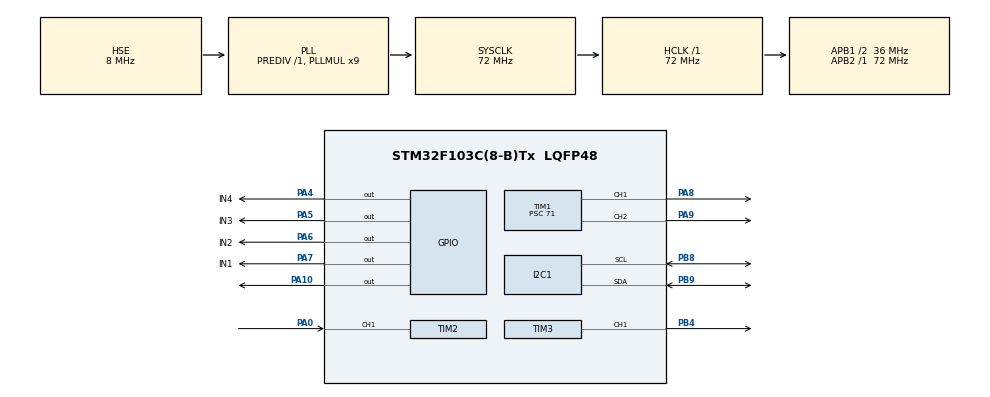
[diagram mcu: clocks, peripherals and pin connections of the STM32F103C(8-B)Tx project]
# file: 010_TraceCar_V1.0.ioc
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I2C1.I2C_Mode=I2C_Fast
Mcu.Family=STM32F1
Mcu.Name=STM32F103C(8-B)Tx
Mcu.Package=LQFP48
NVIC.PriorityGroup=NVIC_PRIORITYGROUP_4
PA0-WKUP.Signal=S_TIM2_CH1_ETR
PA10.GPIO_Speed=GPIO_SPEED_FREQ_HIGH
PA10.Signal=GPIO_Output
PA13.Mode=Serial_Wire
PA13.Signal=SYS_JTMS-SWDIO
PA14.Mode=Serial_Wire
PA14.Signal=SYS_JTCK-SWCLK
PA4.GPIO_Label=IN4
PA4.Signal=GPIO_Output
PA5.GPIO_Label=IN3
PA5.Signal=GPIO_Output
PA6.GPIO_Label=IN2
PA6.Signal=GPIO_Output
PA7.GPIO_Label=IN1
PA7.Signal=GPIO_Output
PA8.Signal=S_TIM1_CH1
PA9.Signal=S_TIM1_CH2
PB4.Signal=S_TIM3_CH1
PB8.Mode=I2C
PB8.Signal=I2C1_SCL
PB9.Mode=I2C
PB9.Signal=I2C1_SDA
PD0-OSC_IN.Mode=HSE-External-Oscillator
PD0-OSC_IN.Signal=RCC_OSC_IN
PD1-OSC_OUT.Mode=HSE-External-Oscillator
PD1-OSC_OUT.Signal=RCC_OSC_OUT
ProjectManager.HeapSize=0x200
ProjectManager.StackSize=0x400
ProjectManager.TargetToolchain=MDK-ARM V5.32
RCC.AHBFreq_Value=72000000
RCC.APB1CLKDivider=RCC_HCLK_DIV2
RCC.APB1Freq_Value=36000000
RCC.APB1TimFreq_Value=72000000
RCC.APB2Freq_Value=72000000
RCC.APB2TimFreq_Value=72000000
RCC.HCLKFreq_Value=72000000
RCC.PLLMUL=RCC_PLL_MUL9
RCC.PLLSourceVirtual=RCC_PLLSOURCE_HSE
RCC.SYSCLKFreq_VALUE=72000000
RCC.SYSCLKSource=RCC_SYSCLKSOURCE_PLLCLK
RCC.USBFreq_Value=72000000
SH.S_TIM1_CH1.0=TIM1_CH1,PWM Generation1 CH1
SH.S_TIM1_CH2.0=TIM1_CH2,PWM Generation2 CH2
SH.S_TIM2_CH1_ETR.0=TIM2_CH1,Input_Capture1_from_TI1
SH.S_TIM3_CH1.0=TIM3_CH1,PWM Generation1 CH1
TIM1.AutoReloadPreload=TIM_AUTORELOAD_PRELOAD_ENABLE
TIM1.Channel-PWM\ Generation1\ CH1=TIM_CHANNEL_1
TIM1.Channel-PWM\ Generation2\ CH2=TIM_CHANNEL_2
TIM1.Period=999
TIM1.Prescaler=71
TIM2.Channel-Input_Capture1_from_TI1=TIM_CHANNEL_1
TIM2.Channel-Input_Capture2_from_TI1_63=TIM_CHANNEL_2
TIM2.ICPolarity_CH2=TIM_INPUTCHANNELPOLARITY_FALLING
TIM2.Period=19999
TIM2.Prescaler=71
TIM3.AutoReloadPreload=TIM_AUTORELOAD_PRELOAD_ENABLE
TIM3.Channel-PWM\ Generation1\ CH1=TIM_CHANNEL_1
TIM3.Period=19999
TIM3.Prescaler=71
VP_TIM1_VS_ClockSourceINT.Mode=Internal
VP_TIM2_VS_ClockSourceINT.Mode=Internal
VP_TIM2_VS_indirect_ch1.Mode=Input_Capture2_from_TI1_63
VP_TIM3_VS_ClockSourceINT.Mode=Internal
board=custom

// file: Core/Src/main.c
/* USER CODE BEGIN Header */
/**
  ******************************************************************************
  * @file           : main.c
  * @brief          : Main program body
  ******************************************************************************
  * @attention
  *
  * Copyright (c) 2026 STMicroelectronics.
  * All rights reserved.
  *
  * This software is licensed under terms that can be found in the LICENSE file
  * in the root directory of this software component.
  * If no LICENSE file comes with this software, it is provided AS-IS.
  *
  ******************************************************************************
  */
/* USER CODE END Header */
#include "main.h"
#include "i2c.h"
#include "tim.h"
#include "gpio.h"

/* USER CODE BEGIN Includes */
#include "OLED.h"
#include "Servo.h"
#include "Sensor.h"
#include  "Motor.h"
/* USER CODE END Includes */

/* USER CODE BEGIN PV */
int left_speed;
int right_spped;
uint8_t sharp_turn_mode=0;
int active_num=0;
/* USER CODE END PV */

void SystemClock_Config(void);
/* USER CODE BEGIN PFP */
int Calculate_Error(uint8_t sensor_val);
void Motor_Init(void);
void Motor_SetSpeed(int left_seepd,int right_speed);
void Servo_Init(void);
void Obstacle_Avoide(void);
//float HCSR04_GetDistance(void);
/* USER CODE END PFP */

/* USER CODE BEGIN 0 */

int Calculate_Error(uint8_t sensor_val)
{
    sensor_val &= 0x7E;
    if(sensor_val==0) return 9999;

    long pos=0;
    int active=0;

    if(sensor_val & 0x40) {pos += 1000; active++;}
    if(sensor_val & 0x20) {pos += 2000; active++;}
    if(sensor_val & 0x10) {pos += 3000; active++;}
    if(sensor_val & 0x08) {pos += 4000; active++;}
    if(sensor_val & 0x04) {pos += 5000; active++;}
    if(sensor_val & 0x02) {pos += 6000; active++;}
    int position = pos / active;
	active_num=active;
    return position - 3500;
}
//=============================================================
// 1. PID parameters
float Kp = 0.3f;
float Ki = 0.0f;
float Kd = 0.8f;

// 2. procedure variable
int last_error = 0;

// 3. Base Speed
int BaseSpeed = 350;

void PID_Track_Control(int current_error)
{

    static int error_history[5] = {0,0,0,0,0};//此处的static关键字改变了数组error_history的生命周期，并且使其只被初始化一次
    static uint16_t lost_line_timer = 0;

    if(current_error != 9999)
    {
        lost_line_timer = 0;
    }

//1.1 trigger a right-angle turn
if(current_error >= 2000 || (active_num>= 3 && current_error >= 1000))
    {
        sharp_turn_mode = 1;
        return; //right
    }
    if(current_error <= -2000 || (active_num>= 3 && current_error <= -1000))
    {
        sharp_turn_mode = 2;
        return; //left
    }

//1.2
	if(sharp_turn_mode == 1)
    {
        Motor_SetSpeed(350, -350);//dead zone lock

        if(current_error >= -500 && current_error <= 500 && current_error != 9999)
        {
            sharp_turn_mode = 0;//dead zone unlock
            for(int i=0; i<5; i++) error_history[i] = 0;
        }
        return;
    }
    else if(sharp_turn_mode == 2)
    {
        Motor_SetSpeed(-350, 350);
        if (current_error >= -500 && current_error <= 500 && current_error != 9999)
        {
            sharp_turn_mode = 0;
            for(int i=0; i<5; i++) error_history[i] = 0;
        }
        return;
    }
//2.software watchdog
    if(current_error == 9999)
    {
        lost_line_timer++;

        if(lost_line_timer < 15)
        {

            if(last_error <= -1500) Motor_SetSpeed(100,300);
            else if(last_error >= 1500) Motor_SetSpeed(300,100);
            else Motor_SetSpeed(0, 0);
        }
        else
        {
            if(last_error <= -1500) Motor_SetSpeed(-350, 350);
            else if(last_error >= 1500) Motor_SetSpeed(350, -350);
            else Motor_SetSpeed(0, 0);
        }

        for(int i=0; i<5; i++) error_history[i] = 0;
        return;
    }

// 3.reduce speed when making a sharp turn
    int current_base_speed = BaseSpeed;
    if(current_error >= 2500 || current_error <= -2500)
	{
        current_base_speed = 50;
    }
    else if(current_error <= -1500 || current_error >= 1500)
	{
        current_base_speed = 220;
    }
//4.
    for(int i = 4; i > 0; i--)
	{
        error_history[i] = error_history[i-1];
    }
    error_history[0] = current_error;

    int window_sum = 0;
    for(int i = 0; i < 5; i++)
	{
        window_sum += error_history[i];//sliding‑window integration
    }

    float P = Kp * current_error;
    float I = Ki * window_sum;
    float slope = current_error - last_error;
    float D = Kd * slope;

    float PID_output = P + I + D;

    int left_motor_speed  = current_base_speed + (int)PID_output;
    int right_motor_speed = current_base_speed - (int)PID_output;

    if (left_motor_speed > 1000)  left_motor_speed = 1000;
    if (left_motor_speed < -1000) left_motor_speed = -1000;
    if (right_motor_speed > 1000) right_motor_speed = 1000;
    if (right_motor_speed < -1000) right_motor_speed = -1000;

    Motor_SetSpeed(left_motor_speed, right_motor_speed);

    last_error = current_error;
}

//HC-SRO4+avoidance

float HCSR04_GetDistance(void)
{
__HAL_TIM_SET_COUNTER(&htim2,0);

__HAL_TIM_CLEAR_FLAG(&htim2,TIM_FLAG_CC1);
__HAL_TIM_CLEAR_FLAG(&htim2,TIM_FLAG_CC2);

HAL_TIM_IC_Start(&htim2,TIM_CHANNEL_1);
HAL_TIM_IC_Start(&htim2,TIM_CHANNEL_2);

HAL_GPIO_WritePin(GPIOA,GPIO_PIN_10,GPIO_PIN_SET);
for(volatile uint32_t i=0; i<1500; i++);
HAL_GPIO_WritePin(GPIOA,GPIO_PIN_10,GPIO_PIN_RESET);

uint8_t if_success=0;
uint32_t expiretime=HAL_GetTick()+50;

while(expiretime>HAL_GetTick())
{
uint8_t cc1flag=__HAL_TIM_GET_FLAG(&htim2,TIM_FLAG_CC1);
uint8_t cc2flag=__HAL_TIM_GET_FLAG(&htim2,TIM_FLAG_CC2);

if(cc1flag&&cc2flag)
{
if_success=1;
break;
}
}
HAL_TIM_IC_Stop(&htim2,TIM_CHANNEL_1);
HAL_TIM_IC_Stop(&htim2,TIM_CHANNEL_2);

if(if_success)
{
uint16_t ccr1=__HAL_TIM_GET_COMPARE(&htim2,TIM_CHANNEL_1);
uint16_t ccr2=__HAL_TIM_GET_COMPARE(&htim2,TIM_CHANNEL_2);
float plusWidth=(uint16_t)(ccr2-ccr1)*1e-6f;
float distance=340.0f*plusWidth/2.0f;
return distance;
}

return 999.0f;

}
void Obstacle_Avoide(void)
{

    Motor_SetSpeed(0,0);
    HAL_Delay(200);

    Motor_SetSpeed(-800, -800);
    HAL_Delay(400);

    Motor_SetSpeed(0,0);

}
/* USER CODE END 0 */

int main(void)
{

  /* MCU Configuration--------------------------------------------------------*/

  /* Reset of all peripherals, Initializes the Flash interface and the Systick. */
  HAL_Init();

  /* Configure the system clock */
  SystemClock_Config();

  /* Initialize all configured peripherals */
  MX_GPIO_Init();
  MX_TIM3_Init();
  MX_I2C1_Init();
  MX_TIM1_Init();
  MX_TIM2_Init();
  /* USER CODE BEGIN 2 */
Motor_Init();
  /* USER CODE END 2 */

  /* Infinite loop */
  /* USER CODE BEGIN WHILE */

  while (1)
  {

      float distance = HCSR04_GetDistance();

      // 2.
      if(distance > 0.01f && distance < 0.2f)
      {
          Obstacle_Avoide();
      }

     else
      {
          uint8_t Sensor_value_raw = Sensor_Read();
          int error = Calculate_Error(Sensor_value_raw);
          PID_Track_Control(error);
      }
      HAL_Delay(60);

    /* USER CODE END WHILE */

  }
}

void SystemClock_Config(void)
{
  RCC_OscInitTypeDef RCC_OscInitStruct = {0};
  RCC_ClkInitTypeDef RCC_ClkInitStruct = {0};

  /** Initializes the RCC Oscillators according to the specified parameters
  * in the RCC_OscInitTypeDef structure.
  */
  RCC_OscInitStruct.OscillatorType = RCC_OSCILLATORTYPE_HSE;
  RCC_OscInitStruct.HSEState = RCC_HSE_ON;
  RCC_OscInitStruct.HSEPredivValue = RCC_HSE_PREDIV_DIV1;
  RCC_OscInitStruct.HSIState = RCC_HSI_ON;
  RCC_OscInitStruct.PLL.PLLState = RCC_PLL_ON;
  RCC_OscInitStruct.PLL.PLLSource = RCC_PLLSOURCE_HSE;
  RCC_OscInitStruct.PLL.PLLMUL = RCC_PLL_MUL9;
  if (HAL_RCC_OscConfig(&RCC_OscInitStruct) != HAL_OK)
  {
    Error_Handler();
  }

  /** Initializes the CPU, AHB and APB buses clocks
  */
  RCC_ClkInitStruct.ClockType = RCC_CLOCKTYPE_HCLK|RCC_CLOCKTYPE_SYSCLK
                              |RCC_CLOCKTYPE_PCLK1|RCC_CLOCKTYPE_PCLK2;
  RCC_ClkInitStruct.SYSCLKSource = RCC_SYSCLKSOURCE_PLLCLK;
  RCC_ClkInitStruct.AHBCLKDivider = RCC_SYSCLK_DIV1;
  RCC_ClkInitStruct.APB1CLKDivider = RCC_HCLK_DIV2;
  RCC_ClkInitStruct.APB2CLKDivider = RCC_HCLK_DIV1;

  if (HAL_RCC_ClockConfig(&RCC_ClkInitStruct, FLASH_LATENCY_2) != HAL_OK)
  {
    Error_Handler();
  }
}

void Error_Handler(void)
{
  __disable_irq();
  while (1)
  {
  }
}
